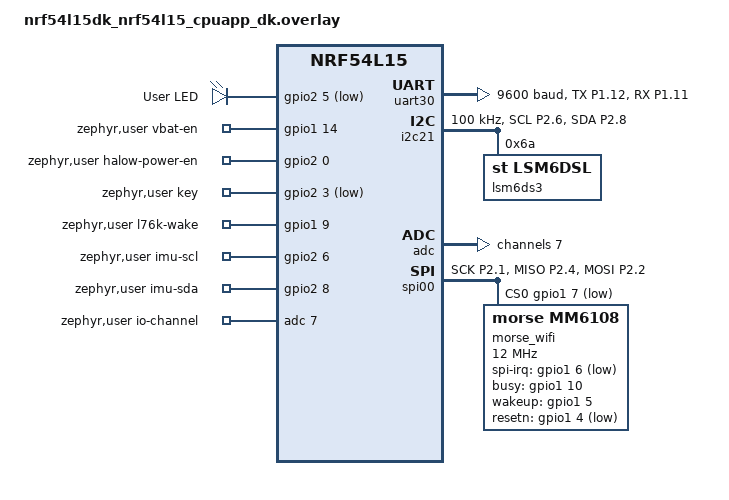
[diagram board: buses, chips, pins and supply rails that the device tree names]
#include <zephyr/dt-bindings/adc/adc.h>
#include <zephyr/dt-bindings/adc/nrf-saadc.h>

/*
 * DK-base overlay for the custom E73-2G4M08S1F wiring.
 * This avoids Seeed XIAO board nodes such as xiao_d/xiao_spi while keeping
 * the same physical pins used by the normal nRF54L15 HaLow setup.
 */

/ {
	leds {
		compatible = "gpio-leds";

		user_led: user_led {
			gpios = <&gpio2 5 GPIO_ACTIVE_LOW>;
			label = "User LED";
		};
	};

	aliases {
		led0 = &user_led;
		imu0 = &lsm6ds3;
		l76k-uart = &uart30;
	};

	zephyr,user {
		io-channels = <&adc 7>;
		vbat-en-gpios = <&gpio1 14 GPIO_ACTIVE_HIGH>;
		halow-power-en-gpios = <&gpio2 0 GPIO_ACTIVE_HIGH>;
		key-gpios = <&gpio2 3 (GPIO_PULL_UP | GPIO_ACTIVE_LOW)>;
		l76k-wake-gpios = <&gpio1 9 GPIO_ACTIVE_HIGH>;
		imu-scl-gpios = <&gpio2 6 (GPIO_PULL_UP | GPIO_ACTIVE_HIGH)>;
		imu-sda-gpios = <&gpio2 8 (GPIO_PULL_UP | GPIO_ACTIVE_HIGH)>;
	};
};

&pinctrl {
	uart30_l76k_default: uart30_l76k_default {
		group1 {
			psels = <NRF_PSEL(UART_TX, 1, 12)>;
		};

		group2 {
			psels = <NRF_PSEL(UART_RX, 1, 11)>;
			bias-pull-up;
		};
	};

	uart30_l76k_sleep: uart30_l76k_sleep {
		group1 {
			psels = <NRF_PSEL(UART_TX, 1, 12)>,
				<NRF_PSEL(UART_RX, 1, 11)>;
			low-power-enable;
		};
	};

	i2c21_default: i2c21_default {
		group1 {
			psels = <NRF_PSEL(TWIM_SCL, 2, 6)>,
				<NRF_PSEL(TWIM_SDA, 2, 8)>;
			bias-pull-up;
		};
	};

	i2c21_sleep: i2c21_sleep {
		group1 {
			psels = <NRF_PSEL(TWIM_SCL, 2, 6)>,
				<NRF_PSEL(TWIM_SDA, 2, 8)>;
			low-power-enable;
		};
	};

	spi00_halow_default: spi00_halow_default {
		group1 {
			psels = <NRF_PSEL(SPIM_SCK, 2, 1)>,
				<NRF_PSEL(SPIM_MISO, 2, 4)>,
				<NRF_PSEL(SPIM_MOSI, 2, 2)>;
		};
	};

	spi00_halow_sleep: spi00_halow_sleep {
		group1 {
			psels = <NRF_PSEL(SPIM_SCK, 2, 1)>,
				<NRF_PSEL(SPIM_MISO, 2, 4)>,
				<NRF_PSEL(SPIM_MOSI, 2, 2)>;
			low-power-enable;
		};
	};
};

&uart30 {
	status = "okay";
	current-speed = <9600>;
	pinctrl-0 = <&uart30_l76k_default>;
	pinctrl-1 = <&uart30_l76k_sleep>;
	pinctrl-names = "default", "sleep";
};

&uart21 {
	status = "disabled";
};

&i2c21 {
	status = "okay";
	compatible = "nordic,nrf-twim";
	pinctrl-0 = <&i2c21_default>;
	pinctrl-1 = <&i2c21_sleep>;
	pinctrl-names = "default", "sleep";
	clock-frequency = <I2C_BITRATE_STANDARD>;

	lsm6ds3: lsm6ds3@6a {
		compatible = "st,lsm6dsl";
		reg = <0x6a>;
		status = "okay";
	};
};

&adc {
	#address-cells = <1>;
	#size-cells = <0>;
	status = "okay";

	channel@7 {
		reg = <7>;
		zephyr,gain = "ADC_GAIN_1_4";
		zephyr,reference = "ADC_REF_INTERNAL";
		zephyr,acquisition-time = <ADC_ACQ_TIME(ADC_ACQ_TIME_MICROSECONDS, 40)>;
		zephyr,input-positive = <NRF_SAADC_AIN6>;
		zephyr,resolution = <12>;
		zephyr,oversampling = <4>;
	};
};

&spi00 {
	status = "okay";
	cs-gpios = <&gpio1 7 GPIO_ACTIVE_LOW>;
	pinctrl-0 = <&spi00_halow_default>;
	pinctrl-1 = <&spi00_halow_sleep>;
	pinctrl-names = "default", "sleep";

	morse_wifi: morse@0 {
		status = "okay";
		compatible = "morse,mm6108";
		spi-max-frequency = <12000000>;
		reg = <0>;

		spi-irq-gpios = <&gpio1 6 GPIO_ACTIVE_LOW>;
		busy-gpios = <&gpio1 10 (GPIO_ACTIVE_HIGH | GPIO_PULL_DOWN)>;
		wakeup-gpios = <&gpio1 5 GPIO_ACTIVE_HIGH>;
		resetn-gpios = <&gpio1 4 GPIO_ACTIVE_LOW>;
	};
};
